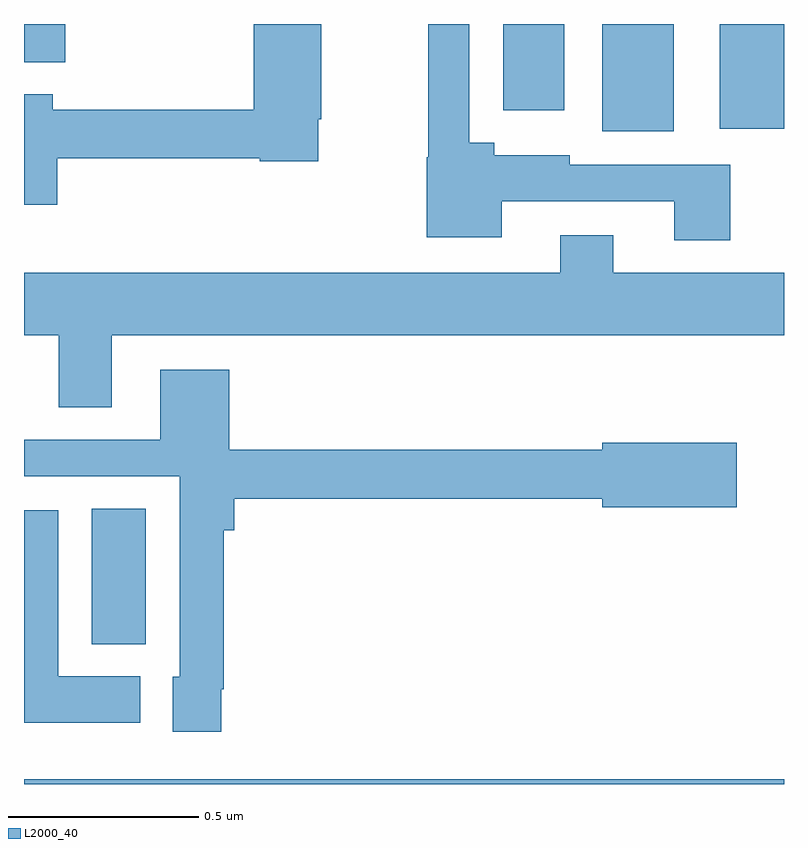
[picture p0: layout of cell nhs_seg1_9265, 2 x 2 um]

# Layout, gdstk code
import gdstk
lib = gdstk.Library(unit=1e-6, precision=1e-09)
def R(c, l, rs):  # rectangles x0, y0, x1, y1
    for r in rs: c.add(gdstk.rectangle(r[:2], r[2:], *l))
def P(c, l, *ps):  # polygons
    for p in ps: c.add(gdstk.Polygon(p, *l))
L2000_40 = (2000, 40)

nhs_seg1_9265 = lib.new_cell('nhs_seg1_9265')
R(nhs_seg1_9265, L2000_40, [(226,569.199,228,569.212), (226.178,569.567,226.321,569.924), (227.522,570.917,227.71,571.199), (227.831,570.923,228,571.199), (227.261,570.972,227.422,571.199), (226,571.099,226.109,571.199)])
P(nhs_seg1_9265, L2000_40, [(227.859,570.828),(227.436,570.828),(227.436,570.853),(227.238,570.853),(227.238,570.887),(227.172,570.887),(227.172,571.199),(227.064,571.199),(227.064,570.849),(227.06,570.849),(227.06,570.638),(227.257,570.638),(227.257,570.732),(227.711,570.732),(227.711,570.63),(227.859,570.63)],
  [(226.088,570.846),(226.62,570.846),(226.62,570.838),(226.774,570.838),(226.774,570.949),(226.782,570.949),(226.782,571.198),(226.604,571.198),(226.604,570.974),(226.075,570.974),(226.075,571.014),(226,571.014),(226,570.723),(226.088,570.723)],
  [(226.231,570.38),(228,570.38),(228,570.544),(227.551,570.544),(227.551,570.643),(227.411,570.643),(227.411,570.544),(226,570.544),(226,570.38),(226.091,570.38),(226.091,570.19),(226.231,570.19)],
  [(226.519,569.449),(226.526,569.449),(226.526,569.867),(226.553,569.867),(226.553,569.95),(227.522,569.95),(227.522,569.927),(227.875,569.927),(227.875,570.097),(227.522,570.097),(227.522,570.079),(226.54,570.079),(226.54,570.289),(226.358,570.289),(226.358,570.105),(226,570.105),(226,570.009),(226.41,570.009),(226.41,569.481),(226.391,569.481),(226.391,569.337),(226.519,569.337)],
  [(226.306,569.482),(226.09,569.482),(226.09,569.92),(226,569.92),(226,569.36),(226.306,569.36)])

lib.write_gds('nhs_seg1_9265.gds')
